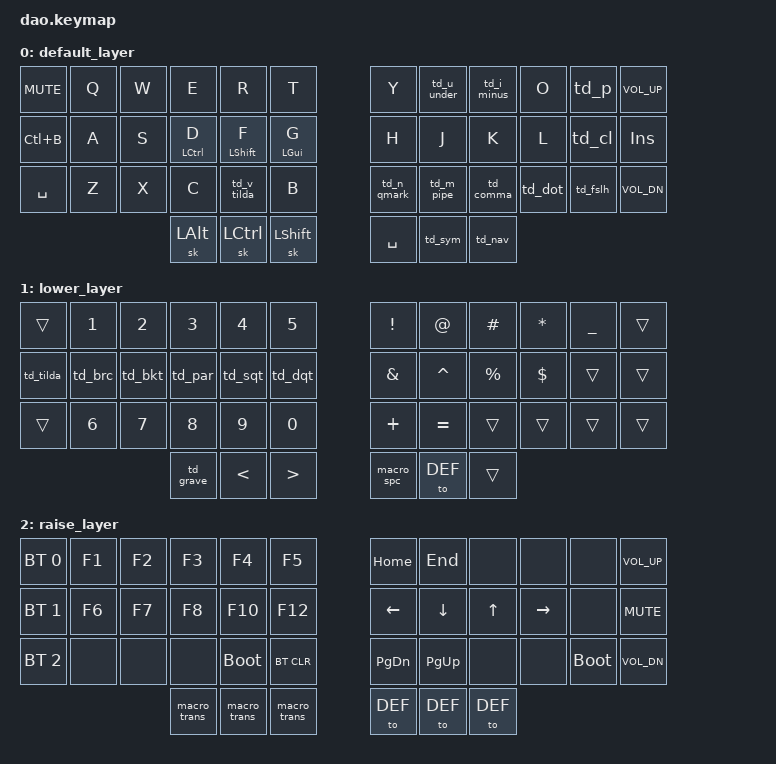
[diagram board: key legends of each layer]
// vim: foldmethod=marker

/*
 * Copyright (c) 2021 Rafael Yumagulov
 *
 * SPDX-License-Identifier: MIT
 */


#include <behaviors.dtsi>
#include <dt-bindings/zmk/bt.h>
#include <dt-bindings/zmk/keys.h>

#define DEF 0
#define LWR 1
#define RSE 2

&lt {
    quick_tap_ms = <200>;
};

&mt {
    quick_tap_ms = <200>;
};


/ {
    chosen {
        zmk,matrix_transform = &default_transform;

        // zmk,matrix_transform = &extra_keys_transform;
    };
};

// {{{  COMBOS

/*   0  1  2  3  4  5    6  7  8  9 10 11
 *  12 13 14 15 16 17   18 19 20 21 22 23
 *  24 25 26 27 28 29   30 31 32 33 34 35
 *           36 37 38   39 40 41
 */

/ {
    combos {
        compatible = "zmk,combos";
        // <jk>
        combo_bkspc {
            timeout-ms = <50>;
            key-positions = <19 20>;
            bindings = <&kp BACKSPACE>;
        };
        // <uj>
        combo_enter {
            timeout-ms = <50>;
            key-positions = <7 19>;
            bindings = <&macro_ent>;
        };
        // <df>
        combo_tab {
            timeout-ms = <50>;
            key-positions = <15 16>;
            bindings = <&macro_tab>;
        };
        // <rf>
        combo_esc {
            timeout-ms = <50>;
            key-positions = <4 16>;
            bindings = <&macro_esc>;
        };
        // <thumbs>
        combo_spc {
            timeout-ms = <50>;
            key-positions = <38 39>;
            bindings = <&macro_spc >;
        };

        // , on <sd>
        // . on <kl>
        combo_comma {
            timeout-ms = <50>;
            key-positions = <14 15>;
            bindings = <&kp COMMA>;
        };
        combo_dot {
            timeout-ms = <50>;
            key-positions = <20 21>;
            bindings = <&kp DOT>;
        };

        // >> and ? on <fg> and <hj>
        combo_shift_r {
            timeout-ms = <50>;
            key-positions = <16 17>;
            bindings = <&macro_sft_r>;
        };
        combo_shift_l {
            timeout-ms = <50>;
            key-positions = <18 19>;
            bindings = <&macro_sft_l>;
        };

        // () {} [] on <nm>, <hj>, <yu>
        //combo_par {
        //    timeout-ms = <50>;
        //    key-positions = <30 31>;
        //    bindings = <&macro_par>;
        //};
        //combo_brac {
        //    timeout-ms = <50>;
        //    key-positions = <18 19>;
        //    bindings = <&macro_brac>;
        //};
        //combo_brak {
        //    timeout-ms = <50>;
        //    key-positions = <6 7>;
        //    bindings = <&macro_brak>;
        //};
    };
};
// }}}


// {{{  MACROS
/ {
    macros {
        // EXPERIMENTAL
        macro_trans_kp: macro_trans_kp {
            compatible = "zmk,behavior-macro-one-param";
            #binding-cells = <1>;
            bindings
                = <&macro_param_1to1>, <&macro_tap &kp MACRO_PLACEHOLDER>;
        };
        macro_trans: macro_trans {
            compatible = "zmk,behavior-macro";
            #binding-cells = <0>;
            bindings
                = <&macro_tap &to DEF &trans>;
        };

        // BASE
        macro_def: macro_default_kp {
            compatible = "zmk,behavior-macro-one-param";
            #binding-cells = <1>;
            bindings
                = <&macro_param_1to1>
                , <&macro_tap &kp MACRO_PLACEHOLDER>
                , <&macro_tap &to DEF>
                ;
        };

        // FOR COMBOS
        macro_spc: macro_spc {
            compatible = "zmk,behavior-macro";
            #binding-cells = <0>;
            bindings
                = <&macro_tap &to DEF &kp SPACE>;
        };
        macro_ent: macro_enter {
            compatible = "zmk,behavior-macro";
            #binding-cells = <0>;
            bindings
                = <&macro_tap &to DEF &kp ENTER>;
        };
        macro_esc: macro_esc {
            compatible = "zmk,behavior-macro";
            #binding-cells = <0>;
            bindings
                = <&macro_tap &to DEF &kp ESC>;
        };
        macro_tab: macro_tab {
            compatible = "zmk,behavior-macro";
            #binding-cells = <0>;
            bindings
                = <&macro_def TAB>;
        };

        // for {} () ****...
        macro_dbl: macro_double_same_param {
            compatible = "zmk,behavior-macro-one-param";
            #binding-cells = <1>;
            bindings
                = <&macro_param_1to1>
                , <&macro_press &kp MACRO_PLACEHOLDER>
                , <&macro_param_1to1>
                , <&macro_press &kp MACRO_PLACEHOLDER>
                , <&macro_tap &kp LEFT>
                ;
        };
        macro_dbl_diff: macro_double_diff_params {
            compatible = "zmk,behavior-macro-two-param";
            #binding-cells = <2>;
            bindings
                = <&macro_param_1to1>
                , <&macro_press &kp MACRO_PLACEHOLDER>
                , <&macro_param_2to1>
                , <&macro_press &kp MACRO_PLACEHOLDER>
                , <&macro_tap &kp LEFT>
                ;
        };
        macro_quad: macro_quadro_same_param {
            compatible = "zmk,behavior-macro-one-param";
            #binding-cells = <1>;
            bindings
                = <&macro_param_1to1>
                , <&macro_press &kp MACRO_PLACEHOLDER>
                , <&macro_param_1to1>
                , <&macro_press &kp MACRO_PLACEHOLDER>
                , <&macro_param_1to1>
                , <&macro_press &kp MACRO_PLACEHOLDER>
                , <&macro_param_1to1>
                , <&macro_press &kp MACRO_PLACEHOLDER>
                , <&macro_tap &kp LEFT>
                , <&macro_tap &kp LEFT>
                ;
        };
        macro_trpl: macro_tripple_same_param {
            compatible = "zmk,behavior-macro-one-param";
            #binding-cells = <1>;
            bindings
                = <&macro_param_1to1>
                , <&macro_press &kp MACRO_PLACEHOLDER>
                , <&macro_param_1to1>
                , <&macro_press &kp MACRO_PLACEHOLDER>
                , <&macro_param_1to1>
                , <&macro_press &kp MACRO_PLACEHOLDER>
                , <&macro_param_1to1>
                , <&macro_press &kp MACRO_PLACEHOLDER>
                , <&macro_param_1to1>
                , <&macro_press &kp MACRO_PLACEHOLDER>
                , <&macro_param_1to1>
                , <&macro_press &kp MACRO_PLACEHOLDER>
                , <&macro_tap &kp LEFT>
                , <&macro_tap &kp LEFT>
                , <&macro_tap &kp LEFT>
                ;
        };

        // special
        macro_sft_l: macro_shift_left {
            compatible = "zmk,behavior-macro";
            #binding-cells = <0>;
            bindings
                = <&macro_tap &kp LT &kp LT>;
        };
        macro_sft_r: macro_shift_right {
            compatible = "zmk,behavior-macro";
            #binding-cells = <0>;
            bindings
                = <&macro_tap &kp GT &kp GT>;
        };
    };
};
// }}}


// {{{  BEHAVIOURS
/ {
    behaviors {
        // BASE

        // hold - some key
        // tap - some other key
        ht_s: hold_tap_simple {
            compatible = "zmk,behavior-hold-tap";
            #binding-cells = <2>;
            flavor = "hold-preferred";
            tapping-term-ms = <200>;
            bindings = <&kp>, <&kp>;
        };
        // hold - double key and place cursor between
        // tap - some key
        ht_dbl: hold_tap_double {
            compatible = "zmk,behavior-hold-tap";
            #binding-cells = <2>;
            flavor = "hold-preferred";
            tapping-term-ms = <200>;
            bindings = <&macro_dbl>, <&kp>;
        };
        // tap - sticky layer: active until other key is pressed
        // hold - momentary layer: active while being held
        ht_mo_sl: hold_tap_layers_mo_sl {
            compatible = "zmk,behavior-hold-tap";
            #binding-cells = <2>;
            flavor = "hold-preferred";
            tapping-term-ms = <50>;
            bindings = <&mo>, <&sl>;
        };

        // LAYERS

        // hold - sym
        // tap - sticky sym
        // doble-tap - toggle sym
        // tripple-tap - default layer
        td_sym: tap_dance_sym {
            compatible = "zmk,behavior-tap-dance";
            #binding-cells = <0>;
            tapping-term-ms = <200>;
            bindings = <&ht_mo_sl 1 1>, <&tog 1>, <&to DEF>;
        };
        // hold - nav
        // tap - sticky nav
        // doble-tap - toggle nav
        // tripple-tap - default layer
        td_nav: tap_dance_nav {
            compatible = "zmk,behavior-tap-dance";
            #binding-cells = <0>;
            tapping-term-ms = <100>;  // TODO check
            bindings = <&ht_mo_sl 2 2>, <&tog 2>, <&to DEF>;
        };

        // AUX tap dances
        td_cl: tap_dance_col {
            compatible = "zmk,behavior-tap-dance";
            #binding-cells = <0>;
            tapping-term-ms = <200>;
            bindings = <&kp SEMI>, <&kp COLON>, <&kp SQT>;  // for Э
        };
        td_p: tap_dance_p {
            compatible = "zmk,behavior-tap-dance";
            #binding-cells = <0>;
            tapping-term-ms = <200>;
            bindings = <&kp P>, <&kp LBKT>, <&kp RBKT>;  // for Х Ъ
        };
        td_0: tap_dance_0 {
            compatible = "zmk,behavior-tap-dance";
            #binding-cells = <0>;
            tapping-term-ms = <200>;
            bindings = <&kp N0>, <&kp COLON>, <&kp SEMI>;
        };

        // double quotes
        td_dqt: tap_dance_dqt {
            compatible = "zmk,behavior-tap-dance";
            #binding-cells = <0>;
            tapping-term-ms = <200>;
            bindings = <&kp DQT>, <&macro_dbl DQT>, <&macro_trpl DQT>;
        };
        td_grave: tap_dance_grave {
            compatible = "zmk,behavior-tap-dance";
            #binding-cells = <0>;
            tapping-term-ms = <200>;
            bindings = <&kp GRAVE>, <&macro_dbl GRAVE>, <&macro_trpl GRAVE>;
        };
        td_sqt: tap_dance_sqt {
            compatible = "zmk,behavior-tap-dance";
            #binding-cells = <0>;
            tapping-term-ms = <200>;
            bindings = <&kp SQT>, <&macro_dbl SQT>, <&macro_trpl SQT>;
        };
        td_tilda: tap_dance_tilda {
            compatible = "zmk,behavior-tap-dance";
            #binding-cells = <0>;
            tapping-term-ms = <200>;
            bindings = <&kp TILDE>, <&macro_quad TILDE>;
        };

        // combine two keys in one
        td_comma: tap_dance_comma {
            compatible = "zmk,behavior-tap-dance";
            #binding-cells = <0>;
            tapping-term-ms = <200>;
            bindings = <&kp COMMA>, <&kp BACKSLASH>;
        };
        td_dot: tap_dance_dot {
            compatible = "zmk,behavior-tap-dance";
            #binding-cells = <0>;
            tapping-term-ms = <200>;
            bindings = <&kp DOT>, <&kp FSLH>;
        };
        td_pipe: tap_dance_pipe {
            compatible = "zmk,behavior-tap-dance";
            #binding-cells = <0>;
            tapping-term-ms = <200>;
            bindings = <&kp PIPE>, <&kp QMARK>;
        };
        td_fslh: tap_dance_fslh {
            compatible = "zmk,behavior-tap-dance";
            #binding-cells = <0>;
            tapping-term-ms = <200>;
            bindings = <&kp FSLH>, <&kp BSLH>;
        };

        // TD on alpha keys
        td_i_minus: tap_dance_i_minus {
            compatible = "zmk,behavior-tap-dance";
            #binding-cells = <0>;
            tapping-term-ms = <300>;
            bindings = <&kp I>, <&kp MINUS>;
        };
        td_u_under: tap_dance_u_under {
            compatible = "zmk,behavior-tap-dance";
            #binding-cells = <0>;
            tapping-term-ms = <300>;
            bindings = <&kp U>, <&kp UNDER>;
        };
        td_m_pipe: tap_dance_m_pipe {
            compatible = "zmk,behavior-tap-dance";
            #binding-cells = <0>;
            tapping-term-ms = <300>;
            bindings = <&kp M>, <&kp PIPE>;
        };
        td_n_qmark: tap_dance_n_qmark {
            compatible = "zmk,behavior-tap-dance";
            #binding-cells = <0>;
            tapping-term-ms = <300>;
            bindings = <&kp N>, <&kp QMARK>;
        };
        td_v_tilda: tap_dance_v_tilda {
            compatible = "zmk,behavior-tap-dance";
            #binding-cells = <0>;
            tapping-term-ms = <300>;
            bindings = <&kp V>, <&kp TILDE>;
        };

        // tap dance brackets
        td_par: tap_dance_par {
            compatible = "zmk,behavior-tap-dance";
            #binding-cells = <0>;
            tapping-term-ms = <300>;
            bindings = <&kp RPAR>, <&macro_dbl_diff LPAR RPAR>, <&kp LPAR>;
        };
        td_bkt: tap_dance_bkt {
            compatible = "zmk,behavior-tap-dance";
            #binding-cells = <0>;
            tapping-term-ms = <300>;
            bindings = <&kp RBKT>, <&macro_dbl_diff LBKT RBKT>, <&kp LBKT>;
        };
        td_brc: tap_dance_brc {
            compatible = "zmk,behavior-tap-dance";
            #binding-cells = <0>;
            tapping-term-ms = <300>;
            bindings = <&kp RBRC>, <&macro_dbl_diff LBRC RBRC>, <&kp LBRC>;
        };

        // for Russian layout
        td_lrbkt: tap_dance_left_right_bkt {
            compatible = "zmk,behavior-tap-dance";
            #binding-cells = <0>;
            tapping-term-ms = <300>;
            bindings = <&kp LBKT>, <&kp RBKT>;
        };

    };
// }}}


// TODO
// - > and >> on combos on both sides
// - tripple . as //
// - combo on far right ins+ and ins- for volume

    keymap {
        compatible = "zmk,keymap";

        default_layer {
            bindings = <                                                                                                          
&kp K_MUTE  &kp Q   &kp W   &kp E        &kp R         &kp T        /**/   &kp Y        &td_u_under  &td_i_minus  &kp O      &td_p  /* Х Ъ */  &kp K_VOL_UP
&kp LC(B)   &kp A   &kp S   &mt LCTRL D  &mt LSHIFT F  &mt LGUI G   /**/   &kp H        &kp J        &kp K        &kp L      &td_cl /* Э   */  &kp INSERT
&kp SPACE   &kp Z   &kp X   &kp C        &td_v_tilda   &kp B        /**/   &td_n_qmark  &td_m_pipe   &td_comma    &td_dot    &td_fslh          &kp K_VOL_DN
                            &sk LALT     &sk LCTRL     &sk LSHIFT   /**/   &kp SPACE    &td_sym      &td_nav
            >;
        };

        lower_layer {
            bindings = <
&trans     &kp N1    &kp N2   &kp N3   &kp N4   &kp N5     /**/    &kp EXCL    &kp AT_SIGN  &kp HASH     &kp ASTERISK  &kp UNDER  &trans
&td_tilda  &td_brc   &td_bkt  &td_par  &td_sqt  &td_dqt    /**/    &kp AMPS    &kp CARET    &kp PERCENT  &kp DOLLAR    &trans     &trans
&trans     &kp N6    &kp N7   &kp N8   &kp N9   &kp N0     /**/    &kp PLUS    &kp EQUAL    &trans       &trans        &trans     &trans
                          &td_grave    &kp LT   &kp GT     /**/    &macro_spc  &to DEF      &trans   
            >;
        };

        raise_layer {
            bindings = <
&bt BT_SEL 0  &kp F1  &kp F2  &kp F3        &kp F4        &kp F5          /**/    &kp HOME       &kp END      &none   &none      &none        &kp K_VOL_UP
&bt BT_SEL 1  &kp F6  &kp F7  &kp F8        &kp F10       &kp F12         /**/    &kp LEFT       &kp DOWN     &kp UP  &kp RIGHT  &none        &kp K_MUTE
&bt BT_SEL 2  &none   &none   &none         &bootloader   &bt BT_CLR      /**/    &kp PAGE_DOWN  &kp PAGE_UP  &none   &none      &bootloader  &kp K_VOL_DN
                              &macro_trans  &macro_trans  &macro_trans    /**/    &to DEF        &to DEF      &to DEF
            >;
        };
    };
};
